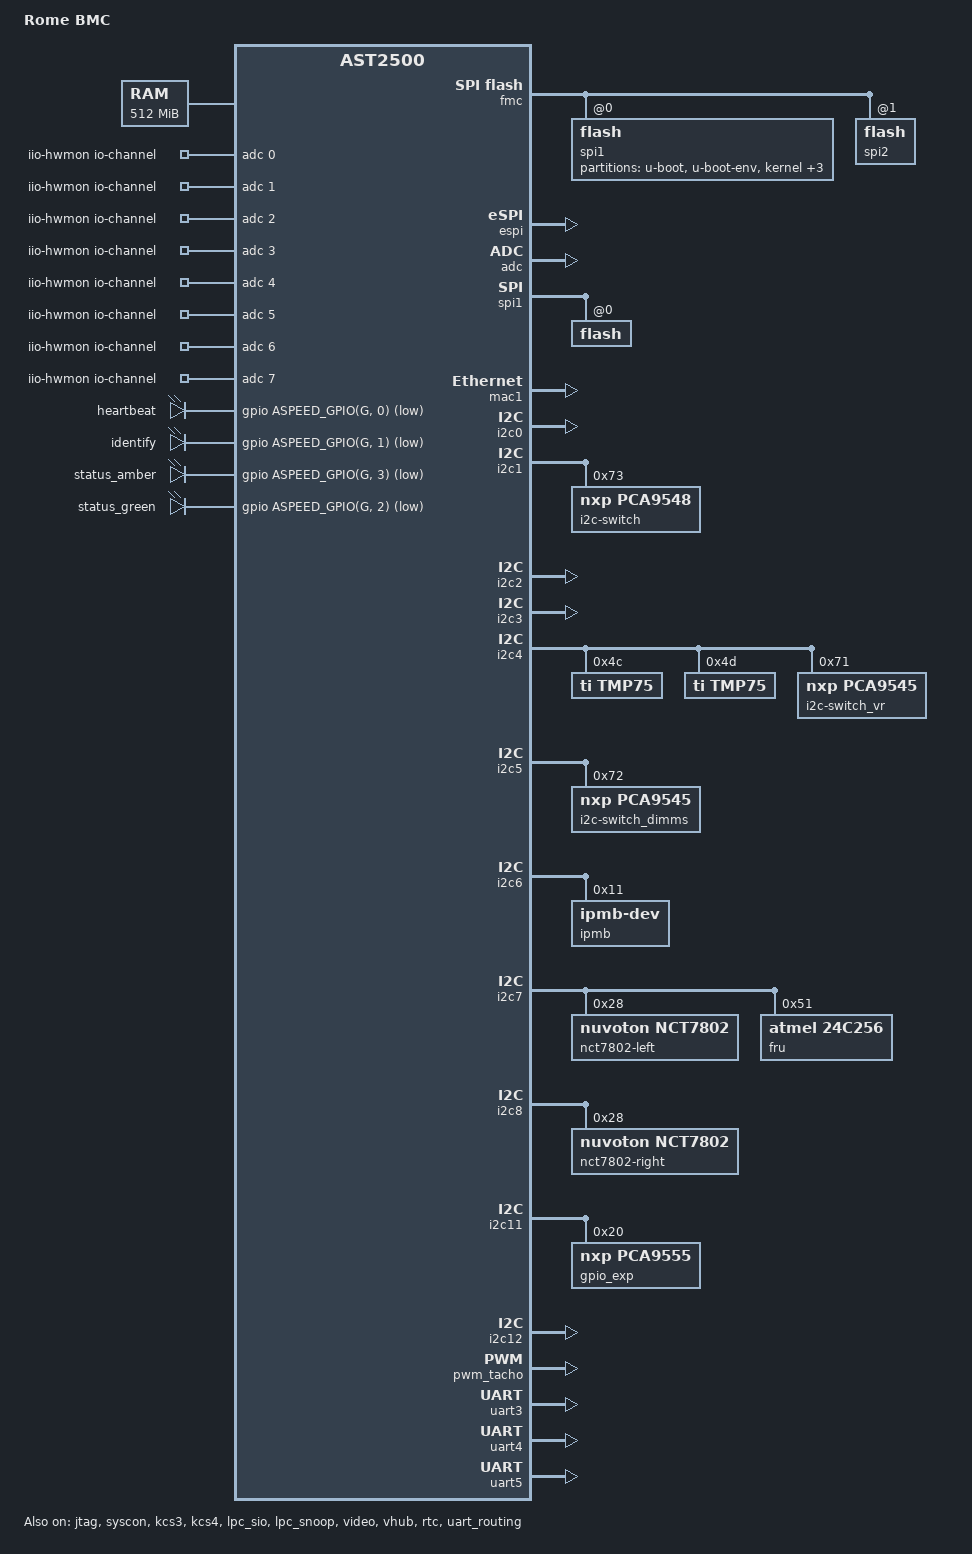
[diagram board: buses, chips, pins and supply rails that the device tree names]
/dts-v1/;

#include "aspeed-g5.dtsi"
#include <dt-bindings/gpio/aspeed-gpio.h>
#include <dt-bindings/i2c/i2c.h>

/ {
	model = "Rome BMC";
	compatible = "amd,rome-bmc", "aspeed,ast2500";

	aliases {
		serial4 = &uart5;

		i2c16 = &i2c_pcie;
		i2c17 = &i2c_nvme0;
		i2c18 = &i2c_nvme1;
		i2c19 = &i2c_nvme2;
		i2c20 = &i2c_nvme3;

		i2c21 = &i2c_cpld;
		i2c22 = &i2c_cpu0_vr;
		i2c23 = &i2c_cpu1_vr;
		i2c24 = &i2c_cpu0_abcd;
		i2c25 = &i2c_cpu0_efgh;
		i2c26 = &i2c_cpu1_abcd;
		i2c27 = &i2c_cpu1_efgh;
	};

	chosen {
		stdout-path = &uart5;
		bootargs = "console=ttyS4,115200n8 root=/dev/ram rw earlyrintk";
	};

	memory@80000000 {
		reg = <0x80000000 0x20000000>;
	};

	reserved-memory {
		#address-cells = <1>;
		#size-cells = <1>;
		ranges;

		vga_memory: framebuffer@7f000000 {
			no-map;
			reg = <0x7f000000 0x01000000>;
		};

		video_engine_memory: jpegbuffer {
			size = <0x02000000>;
			alignment = <0x01000000>;
			compatible = "shared-dma-pool";
			reusable;
		};
		ramoops@9eff0000{
			compatible = "ramoops";
			reg = <0x9eff0000 0x10000>;
			record-size = <0x2000>;
			console-size = <0x2000>;
		};
	};

	vga-shared-memory {
		compatible = "aspeed,ast2500-vga-sharedmem";
		reg = <0x9ff00000 0x100000>;
	};

	iio-hwmon {
			compatible = "iio-hwmon";
			io-channels = <&adc 0>, <&adc 1>, <&adc 2>, <&adc 3>,
				<&adc 4>, <&adc 5>, <&adc 6>, <&adc 7>,
				<&adc 8>, <&adc 9>, <&adc 10>, <&adc 11>,
				<&adc 12>, <&adc 13>, <&adc 14>, <&adc 15>;
	};
	/*iio-hwmon-p12v{
		compatible = "iio-hwmon";
		io-channels = <&adc 0>;
	};

	iio-hwmon-p5v {
		compatible = "iio-hwmon";
		io-channels = <&adc 1>;
	};

	iio-hwmon-p3v3 {
		compatible = "iio-hwmon";
		io-channels = <&adc 2>;
	};

	iio-hwmon-p5v-stdby {
		compatible = "iio-hwmon";
		io-channels = <&adc 3>;
	};

	iio-hwmon-p-vddcr-soc {
		compatible = "iio-hwmon";
		io-channels = <&adc 4>;
	};

	iio-hwmon-pvbat {
		compatible = "iio-hwmon";
		io-channels = <&adc 5>;
	};

	iio-hwmon-p0_vddcr_cpu {
		compatible = "iio-hwmon";
		io-channels = <&adc 6>;
	};

	iio-hwmon-p1_vddcr_cpu {
		compatible = "iio-hwmon";
		io-channels = <&adc 7>;
	};

	iio-hwmon-p0_vddio_mem_abcd {
		compatible = "iio-hwmon";
		io-channels = <&adc 8>;
	};

	iio-hwmon-p0_vddio_mem_efgh {
		compatible = "iio-hwmon";
		io-channels = <&adc 9>;
	};

	iio-hwmon-p1_vddio_mem_abcd {
		compatible = "iio-hwmon";
		io-channels = <&adc 10>;
	};

	iio-hwmon-p1_vddio_mem_efgh {
		compatible = "iio-hwmon";
		io-channels = <&adc 11>;
	};


	iio-hwmon-p1_vdd_soc {
		compatible = "iio-hwmon";
		io-channels = <&adc 12>;
	};

	iio-hwmon-p0_vdd_18 {
		compatible = "iio-hwmon";
		io-channels = <&adc 13>;
	};

	iio-hwmon-p1_vdd_18 {
		compatible = "iio-hwmon";
		io-channels = <&adc 15>;
	};*/

	leds {
		compatible = "gpio-leds";

		heartbeat {
			label = "heartbeat";
			gpios = <&gpio ASPEED_GPIO(G, 0) GPIO_ACTIVE_LOW>;
			linux,default-trigger = "timer";
			active-delay = <100>;
			inactive-delay = <100>;
		};

		identify {
			default-state = "on";
			gpios = <&gpio ASPEED_GPIO(G, 1) GPIO_ACTIVE_LOW>;
		};

		status_amber {
			default-state = "off";
			gpios = <&gpio ASPEED_GPIO(G, 3) GPIO_ACTIVE_LOW>;
		};

		status_green {
			default-state = "keep";
			gpios = <&gpio ASPEED_GPIO(G, 2) GPIO_ACTIVE_LOW>;
		};
	};
};

&fmc {
	status = "okay";
	flash@0 {
		status = "okay";
		m25p,fast-read;
		label = "spi1";
		partitions {
			compatible = "fixed-partitions";
			#address-cells = <1>;
			#size-cells = <1>;

			u-boot@0 {
				reg = <0x0 0x60000>; // 384KB
				label = "u-boot";
			};

			u-boot-env@60000 {
				reg = <0x60000 0x20000>; // 128KB
				label = "u-boot-env";
			};

			kernel@80000 {
				reg = <0x80000 0x440000>; // 4352KB
				label = "kernel";
			};

			rofs@4c0000 {
				reg = <0x4c0000 0x2000000>; // 32MB
				label = "rofs";
			};

			rwfs@24c0000 {
				reg = <0x24c0000 0x1400000>; // 20MB
				label = "rwfs";
			};

			persistent@38C0000 {
				reg = <0x38C0000 0x640000>; // 6.4MB must end at 0x3f00000
				label = "persistent";
			};
		};
	};
	flash@1 {
		status = "okay";
		m25p,fast-read;
		label = "spi2";
	};
};

&espi {
	status = "okay";
};

&jtag {
	status = "okay";
};

&syscon {
	status = "okay";
/*
	misc_control {
		compatible = "aspeed,bmc-misc";
		uart_port_debug {
			offset = <0x2c>;
			bit-mask = <0x1>;
			bit-shift = <10>;
			read-only;
		};
	};
*/
};

&adc {
	status = "okay";
	pinctrl-names = "default";
	pinctrl-0 = <&pinctrl_adc0_default &pinctrl_adc1_default
	 &pinctrl_adc2_default &pinctrl_adc3_default &pinctrl_adc4_default
	 &pinctrl_adc5_default &pinctrl_adc6_default &pinctrl_adc7_default
	 &pinctrl_adc8_default &pinctrl_adc9_default &pinctrl_adc10_default
	 &pinctrl_adc11_default &pinctrl_adc12_default &pinctrl_adc13_default
	 &pinctrl_adc15_default>;
};

&gpio {
	status = "okay";
	/* Enable GPIOD0 and GPIOD2 pass-through by default */
	pinctrl-names = "pass-through";
	pinctrl-0 = <&pinctrl_gpid0_default
			&pinctrl_gpid2_default>;
	gpio-line-names =
	/*A0-A7*/	"A0","A1","ID_BUTTON","BMC_READY","A4","A5","A6","A7",
	/*B0-B7*/	"B0","B1","B2","B3","TCK_MUX_SEL","B5","B6","POST_COMPLETE",
	/*C0-C7*/	"BOARD_SKU_ID0","BOARD_SKU_ID1","BOARD_SKU_ID2","BOARD_SKU_ID3","C4","C5","C6","C7",
	/*D0-D7*/	"POWER_BUTTON","POWER_OUT","RESET_BUTTON","RESET_OUT","NMI_BUTTON","NMI_OUT","D6","D7",
	/*E0-E7*/	"BMC_RST_I2C_DEV_1","BMC_HOST_SMBUS_SEL_N","CPU1_THERMTRIP","CPU2_THERMTRIP","E4","CPU2_VRHOT","CPU2_MEM_ABCD_VRHOT","CPU2_MEM_EFGH_VRHOT",
	/*F0-F7*/	"SIO_POWER_GOOD","DEBUG_EN_N","PWR_DEBUG_N","P3VBAT_BRIDGE_EN","F4","F5","PLTRST_N","PRDY_N",
	/*G0-G7*/	"G0","G1","G2","G3","G4","FM_CLR_CMOS","G6","G7",
	/*H0-H7*/	"PS_PWROK","H1","CPU1_MEM_THERM_EVENT","H3","H4","H5","H6","H7",
	/*I0-I7*/	"I0", "I1", "I2", "I3", "I4", "I5", "I6", "I7",
	/*J0-J7*/	"J0", "J1", "J2", "J3", "J4", "J5", "J6", "J7",
	/*K0-K7*/	"K0", "K1", "K2", "K3", "K4", "K5", "K6", "K7",
	/*L0-L7*/	"L0", "L1", "L2", "L3", "L4", "L5", "L6", "L7",
	/*M0-M7*/	"RSMRST_N","SYSPWROK","M2","M3","M4","BOARD_SKU_ID5","M6","M7", /* Fake signals, NC port */
	/*N0-N7*/	"N0", "N1", "N2", "N3", "N4", "N5", "N6", "N7",
	/*O0-O7*/	"O0", "O1", "O2", "O3", "O4", "O5", "O6", "O7",
	/*P0-P7*/	"P0", "CPU1_THERMTRIP", "P2", "P3", "P4", "CPU1_VRHOT", "CPU1_MEM_ABCD_VRHOT", "CPU1_MEM_EFGH_VRHOT",
	/*Q0-Q7*/	"Q0", "Q1", "Q2", "Q3", "Q4", "Q5", "Q6", "Q7",
	/*R0-R7*/	"R0","R1","R2","BIOS_SEL","R4","BAT_SENSE","R6","R7",
	/*S0-S7*/	"S0", "S1", "S2", "S3", "S4", "S5", "S6", "S7",
	/*T0-T7*/	"T0", "T1", "T2", "T3", "T4", "T5", "T6", "T7",
	/*U0-U7*/	"U0", "U1", "U2", "U3", "U4", "U5", "U6", "U7",
	/*V0-V7*/	"V0", "V1", "V2", "V3", "V4", "V5", "V6", "V7",
	/*W0-W7*/	"W0", "W1", "W2", "W3", "W4", "W5", "W6", "W7",
	/*X0-X7*/	"X0", "X1", "X2", "X3", "X4", "X5", "X6", "X7",
	/*Y0-Y7*/	"SIO_S3","SIO_S5","Y2","SIO_ONCONTROL","Y4","Y5","Y6","Y7",
	/*Z0-Z7*/	"Z0", "Z1", "Z2", "Z3", "Z4", "Z5", "Z6", "Z7",
	/*AA0-AA7*/	"AA0", "AA1", "AA2", "AA3", "AA4", "AA5", "AA6", "AA7",
	/*AB0-AB7*/	"AB0", "AB1", "AB2", "AB3", "AB4", "AB5", "AB6", "AB7",
	/*AC0-AC7*/	"AC0", "AC1", "AC2", "AC3", "AC4", "AC5", "AC6", "AC7";
};

&kcs3 {
	kcs_addr = <0xCA2>;
	aspeed,lpc-io-reg = <0xca2>;
	status = "okay";
};

&kcs4 {
	kcs_addr = <0xCA4>;
	aspeed,lpc-io-reg = <0xca4>;
	status = "okay";
};

&lpc_sio {
	status = "okay";
};


&lpc_snoop {
	snoop-ports = <0x80>;
	status = "okay";
};

&mbox {
	status = "okay";
};

/**
 * BIOS flash connected via MUX controlled by GPIO R.3 (BIOS_SEL_N)
*/
&spi1 {
	status = "okay";
	pinctrl-names = "default";
	pinctrl-0 = <&pinctrl_spi1_default>;

	flash@0 {
		m25p,fast-read;
		status = "okay";
	};
};

&mac0 {
	status = "disabled";
};

&mac1 {
	status = "okay";

	pinctrl-names = "default";
	pinctrl-0 = <&pinctrl_rgmii2_default &pinctrl_mdio2_default>;
};

&i2c0 {
	bus-frequency = <100000>;
	aspeed,dma-buf-size = <4095>;
	aspeed,hw-timeout-ms = <300>;
	status = "okay";
};

&i2c1 {
	bus-frequency = <100000>;
	aspeed,dma-buf-size = <4095>;
	aspeed,hw-timeout-ms = <300>;
	status = "okay";

	i2c-switch@73 {
		compatible = "nxp,pca9548";
		#address-cells = <1>;
		#size-cells = <0>;
		reg = <0x73>;
		i2c-mux-idle-disconnect;

		i2c_pcie: i2c@0 {
			#address-cells = <1>;
			#size-cells = <0>;
			reg = <0>;
		};

		i2c_nvme0: i2c@1 {
			#address-cells = <1>;
			#size-cells = <0>;
			reg = <1>;
		};

		i2c_nvme1: i2c@2 {
			#address-cells = <1>;
			#size-cells = <0>;
			reg = <2>;
		};

		i2c_nvme2: i2c@3 {
			#address-cells = <1>;
			#size-cells = <0>;
			reg = <3>;
		};

		i2c_nvme3: i2c@4 {
			#address-cells = <1>;
			#size-cells = <0>;
			reg = <4>;
		};
	};
};

&i2c2 {
	bus-frequency = <100000>;
	aspeed,dma-buf-size = <4095>;
	aspeed,hw-timeout-ms = <300>;
	status = "okay";
};

&i2c3 {
	bus-frequency = <100000>;
	aspeed,dma-buf-size = <4095>;
	aspeed,hw-timeout-ms = <300>;
	status = "okay";
};

&i2c4 {
	bus-frequency = <100000>;
	aspeed,dma-buf-size = <4095>;
	aspeed,hw-timeout-ms = <300>;
	status = "okay";

	tmp75@4c {
		compatible = "ti,tmp75";
		reg = <0x4c>;
	};

	tmp75@4d {
		compatible = "ti,tmp75";
		reg = <0x4d>;
	};

	i2c-switch_vr {
		compatible = "nxp,pca9545";
		#address-cells = <1>;
		#size-cells = <0>;
		reg = <0x71>;
		i2c-mux-idle-disconnect;
		interrupt-controller;
		#interrupt-cells = <2>;

		i2c_cpld: i2c@0 {
			#address-cells = <1>;
			#size-cells = <0>;
			reg = <0>;
		};
		i2c_cpu0_vr: i2c@1 {
			#address-cells = <1>;
			#size-cells = <0>;
			reg = <1>;
		};
		i2c_cpu1_vr: i2c@2 {
			#address-cells = <1>;
			#size-cells = <0>;
			reg = <2>;
		};
	};
};

&i2c5 {
	bus-frequency = <100000>;
	aspeed,dma-buf-size = <4095>;
	aspeed,hw-timeout-ms = <300>;
	status = "okay";

	i2c-switch_dimms {
		compatible = "nxp,pca9545";
		#address-cells = <1>;
		#size-cells = <0>;
		reg = <0x72>;
		i2c-mux-idle-disconnect;
		interrupt-controller;
		#interrupt-cells = <2>;

		i2c_cpu0_abcd: i2c@0 {
			#address-cells = <1>;
			#size-cells = <0>;
			reg = <0>;
		};
		i2c_cpu0_efgh: i2c@1 {
			#address-cells = <1>;
			#size-cells = <0>;
			reg = <1>;
		};
		i2c_cpu1_abcd: i2c@2 {
			#address-cells = <1>;
			#size-cells = <0>;
			reg = <2>;
		};
		i2c_cpu1_efgh: i2c@3 {
			#address-cells = <1>;
			#size-cells = <0>;
			reg = <3>;
		};
	};
};

&i2c6 {
	bus-frequency = <100000>;
	aspeed,dma-buf-size = <4095>;
	aspeed,hw-timeout-ms = <300>;
	status = "okay";
	multi-master;

/*	ina219@45 {
		compatible = "ti,ina219";
		reg = <0x45>;
		shunt-resistor = <167>;
	};
*/
	ipmb@11 {
		compatible = "ipmb-dev";
		reg = <0x11>;
		i2c-protocol;
	};
};

/* HDD_BPB_R */
&i2c7 {
	bus-frequency = <100000>;
	aspeed,dma-buf-size = <4095>;
	aspeed,hw-timeout-ms = <300>;
	status = "okay";
	nct7802-left@28 {
		compatible = "nuvoton,nct7802";
		reg = <0x28>;
		#address-cells = <1>;
		#size-cells = <0>;
		channel@1 {
			reg = <1>;
			sensor-type = "temperature";
			temperature-mode = "thermistor";
		};
		channel@2 {
			reg = <2>;
			sensor-type = "temperature";
			temperature-mode = "thermistor";
		};
	};

	fru@0x51 {
		compatible = "atmel,24c256";
		reg = <0x51>;
	};
};

/* HDD_BPB_R */
&i2c8 {
	bus-frequency = <100000>;
	aspeed,dma-buf-size = <4095>;
	aspeed,hw-timeout-ms = <300>;
	status = "okay";
	nct7802-right@28 {
		compatible = "nuvoton,nct7802";
		reg = <0x28>;
		#address-cells = <1>;
		#size-cells = <0>;

		channel@1 {
			reg = <1>;
			sensor-type = "temperature";
			temperature-mode = "thermistor";
		};

		channel@2 {
			reg = <2>;
			sensor-type = "temperature";
			temperature-mode = "thermistor";
		};
	};
};

&i2c11 {
	bus-frequency = <100000>;
	aspeed,dma-buf-size = <4095>;
	aspeed,hw-timeout-ms = <300>;
	status = "okay";
	gpio_exp: pca9555@20 {
		compatible = "nxp,pca9555";
		reg = <0x20>;
		#gpio-cells = <2>;
		gpio-line-names =
			/*IO0-IO7*/	"","","GLB_RST_WARN_N_R","","JTAG_EN_N","PMBUS_SEL_N","SGPIO_SEL_N","",
			/*IO10-IO17*/	"BMC_ASSERT_LOCAL_LOCK","","FM_P1_SP3R2","FM_P1_SP3R1","FM_CPU1_IBMC_THERMTRIP_R_N","FM_CPU1_PRESENT_BMC_N","BMC_PCH_PWRBTN_SIO_OUT_N","BMC_ASSERT_PWR_BTN";
		line_pmbus_sel_n {
			gpio-hog;
			gpios = <5 0>;
			output-low;
		};
	};
};

&i2c12 {
	bus-frequency = <100000>;
	aspeed,dma-buf-size = <4095>;
	aspeed,hw-timeout-ms = <300>;
	status = "okay";
};

&pwm_tacho {
	status = "okay";
	pinctrl-names = "default";
	pinctrl-0 = <&pinctrl_pwm0_default &pinctrl_pwm1_default>;

	fan@0 {
		reg = <0x00>;
		aspeed,fan-tach-ch = /bits/ 8 <0x00>;
	};
	fan@1 {
		reg = <0x01>;
		aspeed,fan-tach-ch = /bits/ 8 <0x01>;
	};

};

/*
&timer {
*/

/*
 *	Available settings:
 *	fttmr010,pwm-outputs = <5>, <6>, <7>, <8>;
 *	pinctrl-0 = <&pinctrl_timer5_default &pinctrl_timer6_default
 *			&pinctrl_timer7_default &pinctrl_timer8_default>;
 */

/*
	fttmr010,pwm-outputs = <5>;
	pinctrl-names = "default";
	pinctrl-0 = <&pinctrl_timer5_default>;
	#pwm-cells = <3>;
	status = "okay";
};
*/

&video {
	status = "okay";
	memory-region = <&video_engine_memory>;
};

&vhub {
	status = "okay";
};

/*
&ehci0 {
	status = "okay";
};

&ehci1 {
	status = "okay";
};

&uhci {
	status = "okay";
};
*/

&rtc {
	status = "okay";
};

/* ttyS0 0x1e783000  Passed to host via SIO -> LPC */
&uart1 {
	status = "disabled";
};

/* ttyS1 0x1e78d000 Passed to host via SIO -> LPC */
&uart2{
	status = "disabled";
	//pinctrl-names = "default";
	//pinctrl-0 = <&pinctrl_txd4_default &pinctrl_rxd4_default>;
	//pinctrl-0 = <>;
};

/* ttyS2 0x1e78e000 */
&uart3{
	status = "okay";
	//pinctrl-names = "default";
	//pinctrl-0 = <&pinctrl_txd4_default &pinctrl_rxd4_default>;
	//pinctrl-0 = <>;
};

/* ttyS3 0x1e78f000 This UART is used to be internally connected to UART1 for SOL function */
&uart4{
	status = "okay";
	pinctrl-names = "default";
	pinctrl-0 = <>;
};

/* ttyS4 0x1e784000 This is console UART */
&uart5 {
	status = "okay";
	pinctrl-names = "default";
	pinctrl-0 = <>;
};

/* ttyS5 0x1e787000 This is host UART sitting on LPC */
&vuart {
	status = "disabled";
};

&uart_routing {
	status = "okay";
};
